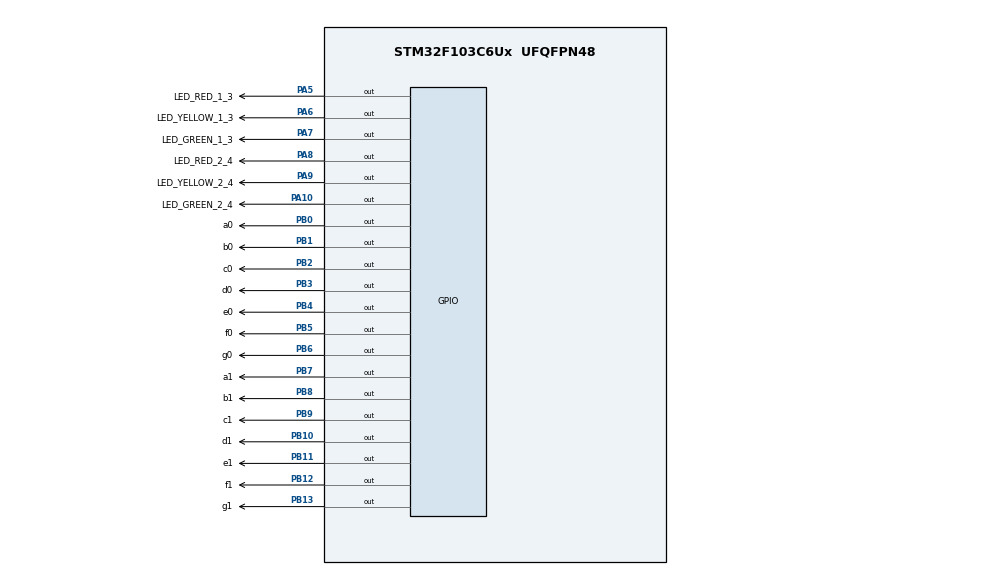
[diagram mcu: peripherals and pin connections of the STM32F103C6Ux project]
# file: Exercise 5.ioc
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Mcu.Family=STM32F1
Mcu.Name=STM32F103C6Ux
Mcu.Package=UFQFPN48
NVIC.PriorityGroup=NVIC_PRIORITYGROUP_4
PA10.GPIO_Label=LED_GREEN_2_4
PA10.Signal=GPIO_Output
PA5.GPIO_Label=LED_RED_1_3
PA5.Signal=GPIO_Output
PA6.GPIO_Label=LED_YELLOW_1_3
PA6.Signal=GPIO_Output
PA7.GPIO_Label=LED_GREEN_1_3
PA7.Signal=GPIO_Output
PA8.GPIO_Label=LED_RED_2_4
PA8.Signal=GPIO_Output
PA9.GPIO_Label=LED_YELLOW_2_4
PA9.Signal=GPIO_Output
PB0.GPIO_Label=a0
PB0.Signal=GPIO_Output
PB1.GPIO_Label=b0
PB1.Signal=GPIO_Output
PB10.GPIO_Label=d1
PB10.Signal=GPIO_Output
PB11.GPIO_Label=e1
PB11.Signal=GPIO_Output
PB12.GPIO_Label=f1
PB12.Signal=GPIO_Output
PB13.GPIO_Label=g1
PB13.Signal=GPIO_Output
PB2.GPIO_Label=c0
PB2.Signal=GPIO_Output
PB3.GPIO_Label=d0
PB3.Signal=GPIO_Output
PB4.GPIO_Label=e0
PB4.Signal=GPIO_Output
PB5.GPIO_Label=f0
PB5.Signal=GPIO_Output
PB6.GPIO_Label=g0
PB6.Signal=GPIO_Output
PB7.GPIO_Label=a1
PB7.Signal=GPIO_Output
PB8.GPIO_Label=b1
PB8.Signal=GPIO_Output
PB9.GPIO_Label=c1
PB9.Signal=GPIO_Output
ProjectManager.HeapSize=0x200
ProjectManager.StackSize=0x400
ProjectManager.TargetToolchain=STM32CubeIDE
RCC.APB1Freq_Value=8000000
RCC.APB2Freq_Value=8000000
VP_SYS_VS_ND.Mode=No_Debug
board=custom

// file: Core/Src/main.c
/* USER CODE BEGIN Header */
/**
  ******************************************************************************
  * @file           : main.c
  * @brief          : Main program body
  ******************************************************************************
  * @attention
  *
  * <h2><center>&copy; Copyright (c) 2022 STMicroelectronics.
  * All rights reserved.</center></h2>
  *
  * This software component is licensed by ST under BSD 3-Clause license,
  * the "License"; You may not use this file except in compliance with the
  * License. You may obtain a copy of the License at:
  *                        opensource.org/licenses/BSD-3-Clause
  *
  ******************************************************************************
  */
/* USER CODE END Header */
#include "main.h"

void SystemClock_Config(void);
static void MX_GPIO_Init(void);

/* USER CODE BEGIN 0 */
void display7SEG1(int num)   //Display Led 7 segments for Traffic light left & right
{
	if (num == 0)
		{
			HAL_GPIO_WritePin (GPIOB, a0_Pin|b0_Pin|c0_Pin|d0_Pin|e0_Pin|f0_Pin, GPIO_PIN_RESET);
			HAL_GPIO_WritePin (GPIOB, g0_Pin, GPIO_PIN_SET);
		}
		else if (num == 1)
		{
			HAL_GPIO_WritePin (GPIOB, b0_Pin|c0_Pin, GPIO_PIN_RESET);
			HAL_GPIO_WritePin (GPIOB, a0_Pin|d0_Pin|e0_Pin|f0_Pin|g0_Pin, GPIO_PIN_SET);
		}
		else if (num == 2)
		{
			HAL_GPIO_WritePin (GPIOB, a0_Pin|b0_Pin|d0_Pin|e0_Pin|g0_Pin, GPIO_PIN_RESET);
			HAL_GPIO_WritePin (GPIOB, c0_Pin|f0_Pin, GPIO_PIN_SET);
		}
		else if (num == 3)
		{
			HAL_GPIO_WritePin (GPIOB, a0_Pin|b0_Pin|c0_Pin|d0_Pin|g0_Pin, GPIO_PIN_RESET);
			HAL_GPIO_WritePin (GPIOB, e0_Pin|f0_Pin, GPIO_PIN_SET);
		}
		else if (num == 4)
		{
			HAL_GPIO_WritePin (GPIOB, b0_Pin|c0_Pin|f0_Pin|g0_Pin, GPIO_PIN_RESET);
			HAL_GPIO_WritePin (GPIOB, a0_Pin|d0_Pin|e0_Pin, GPIO_PIN_SET);
		}
		else if (num == 5)
		{
			HAL_GPIO_WritePin (GPIOB, a0_Pin|c0_Pin|d0_Pin|f0_Pin|g0_Pin, GPIO_PIN_RESET);
			HAL_GPIO_WritePin (GPIOB, b0_Pin|e0_Pin, GPIO_PIN_SET);
		}
		else if (num == 6)
		{
			HAL_GPIO_WritePin (GPIOB, a0_Pin|c0_Pin|d0_Pin|e0_Pin|f0_Pin|g0_Pin, GPIO_PIN_RESET);
			HAL_GPIO_WritePin (GPIOB, b0_Pin, GPIO_PIN_SET);
		}
		else if (num == 7)
		{
			HAL_GPIO_WritePin (GPIOB, a0_Pin|b0_Pin|c0_Pin, GPIO_PIN_RESET);
			HAL_GPIO_WritePin (GPIOB, d0_Pin|e0_Pin|f0_Pin|g0_Pin, GPIO_PIN_SET);
		}
		else if (num == 8)
		{
			HAL_GPIO_WritePin (GPIOB, a0_Pin|b0_Pin|c0_Pin|d0_Pin|e0_Pin|f0_Pin|g0_Pin, GPIO_PIN_RESET);
		}
		else
		{
			HAL_GPIO_WritePin (GPIOB, a0_Pin|b0_Pin|c0_Pin|d0_Pin|f0_Pin|g0_Pin, GPIO_PIN_RESET);
			HAL_GPIO_WritePin (GPIOB, e0_Pin, GPIO_PIN_SET);
		}
}

void display7SEG2(int num)   //Display Led 7 segments for Traffic light top & bottom
{
	if (num == 0)
		{
			HAL_GPIO_WritePin (GPIOB, a1_Pin|b1_Pin|c1_Pin|d1_Pin|e1_Pin|f1_Pin, GPIO_PIN_RESET);
			HAL_GPIO_WritePin (GPIOB, g1_Pin, GPIO_PIN_SET);
		}
		else if (num == 1)
		{
			HAL_GPIO_WritePin (GPIOB, b1_Pin|c1_Pin, GPIO_PIN_RESET);
			HAL_GPIO_WritePin (GPIOB, a1_Pin|d1_Pin|e1_Pin|f1_Pin|g1_Pin, GPIO_PIN_SET);
		}
		else if (num == 2)
		{
			HAL_GPIO_WritePin (GPIOB, a1_Pin|b1_Pin|d1_Pin|e1_Pin|g1_Pin, GPIO_PIN_RESET);
			HAL_GPIO_WritePin (GPIOB, c1_Pin|f1_Pin, GPIO_PIN_SET);
		}
		else if (num == 3)
		{
			HAL_GPIO_WritePin (GPIOB, a1_Pin|b1_Pin|c1_Pin|d1_Pin|g1_Pin, GPIO_PIN_RESET);
			HAL_GPIO_WritePin (GPIOB, e1_Pin|f1_Pin, GPIO_PIN_SET);
		}
		else if (num == 4)
		{
			HAL_GPIO_WritePin (GPIOB, b1_Pin|c1_Pin|f1_Pin|g1_Pin, GPIO_PIN_RESET);
			HAL_GPIO_WritePin (GPIOB, a1_Pin|d1_Pin|e1_Pin, GPIO_PIN_SET);
		}
		else if (num == 5)
		{
			HAL_GPIO_WritePin (GPIOB, a1_Pin|c1_Pin|d1_Pin|f1_Pin|g1_Pin, GPIO_PIN_RESET);
			HAL_GPIO_WritePin (GPIOB, b1_Pin|e1_Pin, GPIO_PIN_SET);
		}
		else if (num == 6)
		{
			HAL_GPIO_WritePin (GPIOB, a1_Pin|c1_Pin|d1_Pin|e1_Pin|f1_Pin|g1_Pin, GPIO_PIN_RESET);
			HAL_GPIO_WritePin (GPIOB, b1_Pin, GPIO_PIN_SET);
		}
		else if (num == 7)
		{
			HAL_GPIO_WritePin (GPIOB, a1_Pin|b1_Pin|c1_Pin, GPIO_PIN_RESET);
			HAL_GPIO_WritePin (GPIOB, d1_Pin|e1_Pin|f1_Pin|g1_Pin, GPIO_PIN_SET);
		}
		else if (num == 8)
		{
			HAL_GPIO_WritePin (GPIOB, a1_Pin|b1_Pin|c1_Pin|d1_Pin|e1_Pin|f1_Pin|g1_Pin, GPIO_PIN_RESET);
		}
		else
		{
			HAL_GPIO_WritePin (GPIOB, a1_Pin|b1_Pin|c1_Pin|d1_Pin|f1_Pin|g1_Pin, GPIO_PIN_RESET);
			HAL_GPIO_WritePin (GPIOB, e1_Pin, GPIO_PIN_SET);
		}
}

/* USER CODE END 0 */

int main(void)
{

  /* MCU Configuration--------------------------------------------------------*/

  /* Reset of all peripherals, Initializes the Flash interface and the Systick. */
  HAL_Init();

  /* Configure the system clock */
  SystemClock_Config();

  /* Initialize all configured peripherals */
  MX_GPIO_Init();

  /* Infinite loop */
  /* USER CODE BEGIN WHILE */

  int counterForLed1_3 = 0;  //For Traffic Light left & right
  int counterForLed2_4 = 0;  //For Traffic Light top & bottom
  while (1)
  {
	  /* Traffic Light left & right with turn on Led red first  */
	  	  if (counterForLed1_3 < 5)
	  	  {
	  		  HAL_GPIO_WritePin ( LED_RED_1_3_GPIO_Port , LED_RED_1_3_Pin , GPIO_PIN_RESET ) ;
	  		  HAL_GPIO_WritePin ( LED_YELLOW_1_3_GPIO_Port , LED_YELLOW_1_3_Pin , GPIO_PIN_SET) ;
	  		  HAL_GPIO_WritePin ( LED_GREEN_1_3_GPIO_Port , LED_GREEN_1_3_Pin , GPIO_PIN_SET) ;
	  	  }

	  	  else if (counterForLed1_3 < 8)
	  	  {
	  		  HAL_GPIO_WritePin ( LED_RED_1_3_GPIO_Port , LED_RED_1_3_Pin , GPIO_PIN_SET ) ;
	  		  HAL_GPIO_WritePin ( LED_YELLOW_1_3_GPIO_Port , LED_YELLOW_1_3_Pin , GPIO_PIN_SET) ;
	  		  HAL_GPIO_WritePin ( LED_GREEN_1_3_GPIO_Port , LED_GREEN_1_3_Pin , GPIO_PIN_RESET) ;
	  	  }

	  	  else
	  	  {
	  		  HAL_GPIO_WritePin ( LED_RED_1_3_GPIO_Port , LED_RED_1_3_Pin , GPIO_PIN_SET ) ;
	  		  HAL_GPIO_WritePin ( LED_YELLOW_1_3_GPIO_Port , LED_YELLOW_1_3_Pin , GPIO_PIN_RESET) ;
	  		  HAL_GPIO_WritePin ( LED_GREEN_1_3_GPIO_Port , LED_GREEN_1_3_Pin , GPIO_PIN_SET) ;
	  	  }

	  	//Display Led 7 segments for Traffic light left & right
		  if (counterForLed1_3 == 0) display7SEG1(5);
		  else if (counterForLed1_3 == 1) display7SEG1(4);
		  else if (counterForLed1_3 == 2) display7SEG1(3);
		  else if (counterForLed1_3 == 3) display7SEG1(2);
		  else if (counterForLed1_3 == 4) display7SEG1(1);
		  else if (counterForLed1_3 == 5) display7SEG1(3);
		  else if (counterForLed1_3 == 6) display7SEG1(2);
		  else if (counterForLed1_3 == 7) display7SEG1(1);
		  else if (counterForLed1_3 == 8) display7SEG1(2);
		  else display7SEG1(1);

		  counterForLed1_3++;
		  if (counterForLed1_3 >= 10) {counterForLed1_3 = 0;}

	  	  /* Traffic Light top & bottom with led green first */
	  	  if (counterForLed2_4 < 3)
	  	  {
	  		  HAL_GPIO_WritePin ( LED_RED_2_4_GPIO_Port , LED_RED_2_4_Pin , GPIO_PIN_SET ) ;
	  		  HAL_GPIO_WritePin ( LED_YELLOW_2_4_GPIO_Port , LED_YELLOW_2_4_Pin , GPIO_PIN_SET) ;
	  		  HAL_GPIO_WritePin ( LED_GREEN_2_4_GPIO_Port , LED_GREEN_2_4_Pin , GPIO_PIN_RESET) ;
	  	  }

	  	  else if (counterForLed2_4 < 5)
	  	  {
	  		  HAL_GPIO_WritePin ( LED_RED_2_4_GPIO_Port , LED_RED_2_4_Pin , GPIO_PIN_SET ) ;
	  		  HAL_GPIO_WritePin ( LED_YELLOW_2_4_GPIO_Port , LED_YELLOW_2_4_Pin , GPIO_PIN_RESET) ;
	  		  HAL_GPIO_WritePin ( LED_GREEN_2_4_GPIO_Port , LED_GREEN_2_4_Pin , GPIO_PIN_SET) ;
	  	  }

	  	  else
	  	  {
	  		  HAL_GPIO_WritePin ( LED_RED_2_4_GPIO_Port , LED_RED_2_4_Pin , GPIO_PIN_RESET ) ;
	  		  HAL_GPIO_WritePin ( LED_YELLOW_2_4_GPIO_Port , LED_YELLOW_2_4_Pin , GPIO_PIN_SET) ;
	  		  HAL_GPIO_WritePin ( LED_GREEN_2_4_GPIO_Port , LED_GREEN_2_4_Pin , GPIO_PIN_SET) ;
	  	  }

	  	//Display Led 7 segments for Traffic light top & bottom
		  if (counterForLed2_4 == 0) display7SEG2(3);
		  else if (counterForLed2_4 == 1) display7SEG2(2);
		  else if (counterForLed2_4 == 2) display7SEG2(1);
		  else if (counterForLed2_4 == 3) display7SEG2(2);
		  else if (counterForLed2_4 == 4) display7SEG2(1);
		  else if (counterForLed2_4 == 5) display7SEG2(5);
		  else if (counterForLed2_4 == 6) display7SEG2(4);
		  else if (counterForLed2_4 == 7) display7SEG2(3);
		  else if (counterForLed2_4 == 8) display7SEG2(2);
		  else display7SEG2(1);

		  counterForLed2_4++;
		  if (counterForLed2_4 >= 10) counterForLed2_4 = 0;

	  	  HAL_Delay(1000);
    /* USER CODE END WHILE */

  }
}

void SystemClock_Config(void)
{
  RCC_OscInitTypeDef RCC_OscInitStruct = {0};
  RCC_ClkInitTypeDef RCC_ClkInitStruct = {0};

  /** Initializes the RCC Oscillators according to the specified parameters
  * in the RCC_OscInitTypeDef structure.
  */
  RCC_OscInitStruct.OscillatorType = RCC_OSCILLATORTYPE_HSI;
  RCC_OscInitStruct.HSIState = RCC_HSI_ON;
  RCC_OscInitStruct.HSICalibrationValue = RCC_HSICALIBRATION_DEFAULT;
  RCC_OscInitStruct.PLL.PLLState = RCC_PLL_NONE;
  if (HAL_RCC_OscConfig(&RCC_OscInitStruct) != HAL_OK)
  {
    Error_Handler();
  }
  /** Initializes the CPU, AHB and APB buses clocks
  */
  RCC_ClkInitStruct.ClockType = RCC_CLOCKTYPE_HCLK|RCC_CLOCKTYPE_SYSCLK
                              |RCC_CLOCKTYPE_PCLK1|RCC_CLOCKTYPE_PCLK2;
  RCC_ClkInitStruct.SYSCLKSource = RCC_SYSCLKSOURCE_HSI;
  RCC_ClkInitStruct.AHBCLKDivider = RCC_SYSCLK_DIV1;
  RCC_ClkInitStruct.APB1CLKDivider = RCC_HCLK_DIV1;
  RCC_ClkInitStruct.APB2CLKDivider = RCC_HCLK_DIV1;

  if (HAL_RCC_ClockConfig(&RCC_ClkInitStruct, FLASH_LATENCY_0) != HAL_OK)
  {
    Error_Handler();
  }
}

static void MX_GPIO_Init(void)
{
  GPIO_InitTypeDef GPIO_InitStruct = {0};

  /* GPIO Ports Clock Enable */
  __HAL_RCC_GPIOA_CLK_ENABLE();
  __HAL_RCC_GPIOB_CLK_ENABLE();

  /*Configure GPIO pin Output Level */
  HAL_GPIO_WritePin(GPIOA, LED_RED_1_3_Pin|LED_YELLOW_1_3_Pin|LED_GREEN_1_3_Pin|LED_RED_2_4_Pin
                          |LED_YELLOW_2_4_Pin|LED_GREEN_2_4_Pin, GPIO_PIN_RESET);

  /*Configure GPIO pin Output Level */
  HAL_GPIO_WritePin(GPIOB, a0_Pin|b0_Pin|c0_Pin|d1_Pin
                          |e1_Pin|f1_Pin|g1_Pin|d0_Pin
                          |e0_Pin|f0_Pin|g0_Pin|a1_Pin
                          |b1_Pin|c1_Pin, GPIO_PIN_RESET);

  /*Configure GPIO pins : LED_RED_1_3_Pin LED_YELLOW_1_3_Pin LED_GREEN_1_3_Pin LED_RED_2_4_Pin
                           LED_YELLOW_2_4_Pin LED_GREEN_2_4_Pin */
  GPIO_InitStruct.Pin = LED_RED_1_3_Pin|LED_YELLOW_1_3_Pin|LED_GREEN_1_3_Pin|LED_RED_2_4_Pin
                          |LED_YELLOW_2_4_Pin|LED_GREEN_2_4_Pin;
  GPIO_InitStruct.Mode = GPIO_MODE_OUTPUT_PP;
  GPIO_InitStruct.Pull = GPIO_NOPULL;
  GPIO_InitStruct.Speed = GPIO_SPEED_FREQ_LOW;
  HAL_GPIO_Init(GPIOA, &GPIO_InitStruct);

  /*Configure GPIO pins : a0_Pin b0_Pin c0_Pin d1_Pin
                           e1_Pin f1_Pin g1_Pin d0_Pin
                           e0_Pin f0_Pin g0_Pin a1_Pin
                           b1_Pin c1_Pin */
  GPIO_InitStruct.Pin = a0_Pin|b0_Pin|c0_Pin|d1_Pin
                          |e1_Pin|f1_Pin|g1_Pin|d0_Pin
                          |e0_Pin|f0_Pin|g0_Pin|a1_Pin
                          |b1_Pin|c1_Pin;
  GPIO_InitStruct.Mode = GPIO_MODE_OUTPUT_PP;
  GPIO_InitStruct.Pull = GPIO_NOPULL;
  GPIO_InitStruct.Speed = GPIO_SPEED_FREQ_LOW;
  HAL_GPIO_Init(GPIOB, &GPIO_InitStruct);

}

void Error_Handler(void)
{
  __disable_irq();
  while (1)
  {
  }
}

/************************ (C) COPYRIGHT STMicroelectronics *****END OF FILE****/
